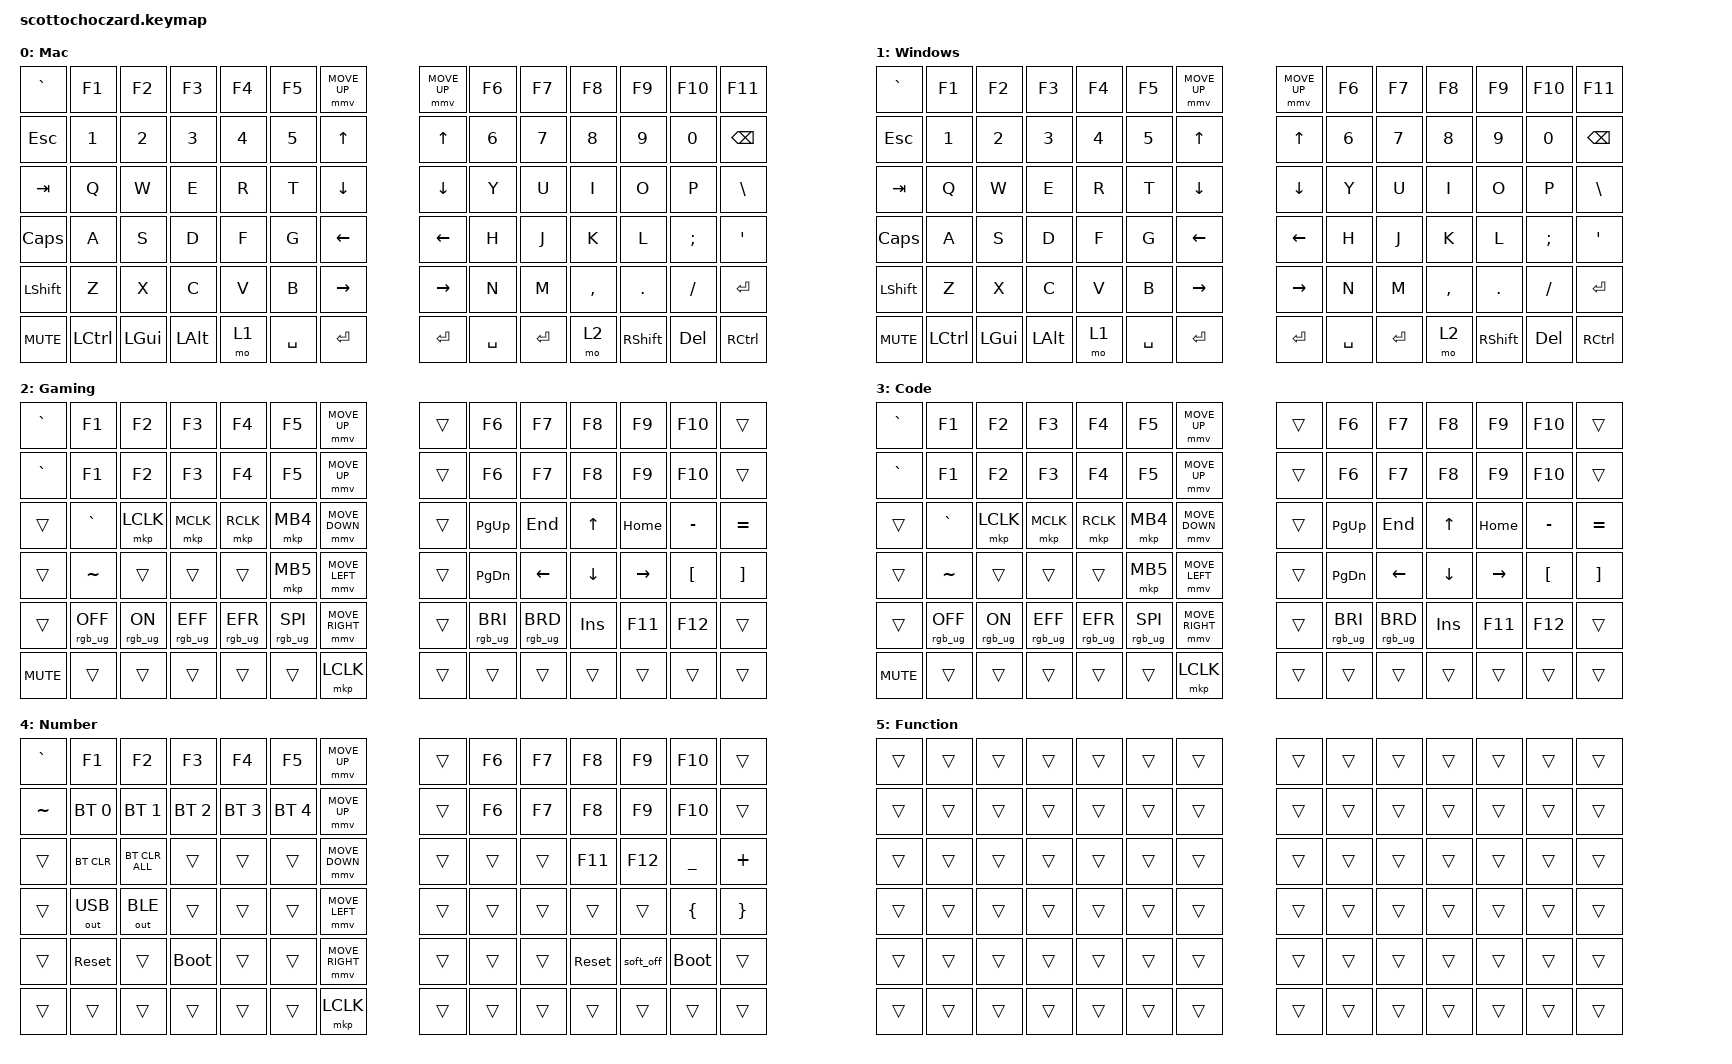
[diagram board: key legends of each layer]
#include <behaviors.dtsi>
#include <dt-bindings/zmk/keys.h>
#include <dt-bindings/zmk/bt.h>

#define MAC 0
#define WINDOWS 1
#define GAME 2
#define CODE 3
#define NUMBER 4
#define FUNCTION 5

// Behavior Overrides
&lt {
    tapping-term-ms = <200>;
    flavor = "hold-preferred";
};

/ {
    macros {
        spotlight: spotlight {
            compatible = "zmk,behavior-macro";
            #binding-cells = <0>;
            bindings = <&macro_press &kp LGUI>, <&macro_tap &kp SPACE>, <&macro_release &kp LGUI>; 
        };

        // Emoji
        mac_emoji: mac_emoji {
            compatible = "zmk,behavior-macro";
            #binding-cells = <0>;
            bindings = <&macro_press &kp LGUI>, <&macro_press &kp LCTRL>, <&macro_tap &kp SPACE>, <&macro_release &kp LCTRL>, <&macro_release &kp LGUI>; 
        };

        windows_emoji: windows_emoji {
            compatible = "zmk,behavior-macro";
            #binding-cells = <0>;
            bindings = <&macro_press &kp LGUI>, <&macro_tap &kp DOT>, <&macro_release &kp LGUI>; 
        };
    };

    behaviors {
        bm: bottom_row_mods {
            compatible = "zmk,behavior-hold-tap";
            #binding-cells = <2>;
            tapping-term-ms = <135>;
            quick-tap-ms = <0>;
            flavor = "tap-preferred";
            bindings = <&kp>, <&kp>;
        };

        cm: code_row_mods {
            compatible = "zmk,behavior-hold-tap";
            #binding-cells = <2>;
            tapping-term-ms = <200>;
            quick-tap-ms = <0>;
            flavor = "tap-preferred";
            bindings = <&kp>, <&kp>;
            retro-tap;
        };

        sm: space_mod {
            compatible = "zmk,behavior-hold-tap";
            #binding-cells = <2>;
            flavor = "balanced";
            tapping-term-ms = <200>;
            quick-tap-ms = <125>;
            bindings = <&kp>, <&kp>;
        };

        td_multi_mac: tap_dance_multi_mac {
            compatible = "zmk,behavior-tap-dance";
            #binding-cells = <0>;
            tapping-term-ms = <200>;
            bindings = <&sm ESC LALT>, <&spotlight>, <&kp LCTRL>, <&mac_emoji>;
        };

        td_multi_windows: tap_dance_multi_windows {
            compatible = "zmk,behavior-tap-dance";
            #binding-cells = <0>;
            tapping-term-ms = <200>;
            bindings = <&sm ESC LALT>, <&kp LGUI>, <&windows_emoji>;
        };
    };
    
    keymap {
        compatible = "zmk,keymap";

        mac_default_layer {
            display-name = "Mac";
            bindings = <
&kp GRAVE   &kp F1     &kp F2        &kp F3        &kp F4  &kp F5       &mmv MOVE_UP     &mmv MOVE_UP     &kp F6     &kp F7     &kp F8     &kp F9           &kp F10     &kp F11         
&kp ESC     &kp N1     &kp N2        &kp N3        &kp N4  &kp N5       &kp UP_ARROW     &kp UP_ARROW     &kp N6     &kp N7     &kp N8     &kp N9           &kp N0      &kp BACKSPACE
&kp TAB     &kp Q      &kp W         &kp E         &kp R   &kp T        &kp DOWN_ARROW   &kp DOWN_ARROW   &kp Y      &kp U      &kp I      &kp O            &kp P       &kp BSLH
&kp CAPS    &kp A      &kp S         &kp D         &kp F   &kp G        &kp LEFT_ARROW   &kp LEFT_ARROW   &kp H      &kp J      &kp K      &kp L            &kp SEMI    &kp APOS
&kp LSHFT   &kp Z      &kp X         &kp C         &kp V   &kp B        &kp RIGHT_ARROW  &kp RIGHT_ARROW  &kp N      &kp M      &kp COMMA  &kp DOT          &kp FSLH    &kp ENTER
&kp C_MUTE  &kp LCTRL  &kp LEFT_GUI  &kp LEFT_ALT  &mo 1   &kp SPACE    &kp ENTER        &kp ENTER        &kp SPACE  &kp ENTER  &mo 2      &kp RIGHT_SHIFT  &kp DELETE  &kp RCTRL
            >;
        };

        windows_default_layer {
            display-name = "Windows";
            bindings = <
&kp GRAVE   &kp F1     &kp F2        &kp F3        &kp F4  &kp F5       &mmv MOVE_UP     &mmv MOVE_UP     &kp F6     &kp F7     &kp F8     &kp F9           &kp F10     &kp F11         
&kp ESC     &kp N1     &kp N2        &kp N3        &kp N4  &kp N5       &kp UP_ARROW     &kp UP_ARROW     &kp N6     &kp N7     &kp N8     &kp N9           &kp N0      &kp BACKSPACE
&kp TAB     &kp Q      &kp W         &kp E         &kp R   &kp T        &kp DOWN_ARROW   &kp DOWN_ARROW   &kp Y      &kp U      &kp I      &kp O            &kp P       &kp BSLH
&kp CAPS    &kp A      &kp S         &kp D         &kp F   &kp G        &kp LEFT_ARROW   &kp LEFT_ARROW   &kp H      &kp J      &kp K      &kp L            &kp SEMI    &kp APOS
&kp LSHFT   &kp Z      &kp X         &kp C         &kp V   &kp B        &kp RIGHT_ARROW  &kp RIGHT_ARROW  &kp N      &kp M      &kp COMMA  &kp DOT          &kp FSLH    &kp ENTER
&kp C_MUTE  &kp LCTRL  &kp LEFT_GUI  &kp LEFT_ALT  &mo 1   &kp SPACE    &kp ENTER        &kp ENTER        &kp SPACE  &kp ENTER  &mo 2      &kp RIGHT_SHIFT  &kp DELETE  &kp RCTRL
            >;
        };

        gaming_layer {
            display-name = "Gaming";
            bindings = <
&kp GRAVE   &kp F1           &kp F2          &kp F3           &kp F4           &kp F5             &mmv MOVE_UP     &trans     &kp F6           &kp F7           &kp F8      &kp F9     &kp F10           &trans
&kp GRAVE   &kp F1           &kp F2          &kp F3           &kp F4           &kp F5             &mmv MOVE_UP     &trans     &kp F6           &kp F7           &kp F8      &kp F9     &kp F10           &trans
&trans      &kp GRAVE        &mkp LCLK       &mkp MCLK        &mkp RCLK        &mkp MB4           &mmv MOVE_DOWN   &trans     &kp PG_UP        &kp END          &kp UP      &kp HOME   &kp MINUS         &kp EQUAL
&trans      &kp TILDE        &trans          &trans           &trans           &mkp MB5           &mmv MOVE_LEFT   &trans     &kp PG_DN        &kp LEFT         &kp DOWN    &kp RIGHT  &kp LEFT_BRACKET  &kp RIGHT_BRACKET
&trans      &rgb_ug RGB_OFF  &rgb_ug RGB_ON  &rgb_ug RGB_EFF  &rgb_ug RGB_EFR  &rgb_ug RGB_SPI    &mmv MOVE_RIGHT  &trans     &rgb_ug RGB_BRI  &rgb_ug RGB_BRD  &kp INSERT  &kp F11    &kp F12           &trans
&kp C_MUTE  &trans           &trans          &trans           &trans           &trans             &mkp LCLK        &trans     &trans           &trans           &trans      &trans     &trans            &trans
            >;
        };

        code_layer {
            display-name = "Code";
            bindings = <
&kp GRAVE   &kp F1           &kp F2          &kp F3           &kp F4           &kp F5             &mmv MOVE_UP     &trans     &kp F6           &kp F7           &kp F8      &kp F9     &kp F10           &trans
&kp GRAVE   &kp F1           &kp F2          &kp F3           &kp F4           &kp F5             &mmv MOVE_UP     &trans     &kp F6           &kp F7           &kp F8      &kp F9     &kp F10           &trans
&trans      &kp GRAVE        &mkp LCLK       &mkp MCLK        &mkp RCLK        &mkp MB4           &mmv MOVE_DOWN   &trans     &kp PG_UP        &kp END          &kp UP      &kp HOME   &kp MINUS         &kp EQUAL
&trans      &kp TILDE        &trans          &trans           &trans           &mkp MB5           &mmv MOVE_LEFT   &trans     &kp PG_DN        &kp LEFT         &kp DOWN    &kp RIGHT  &kp LEFT_BRACKET  &kp RIGHT_BRACKET
&trans      &rgb_ug RGB_OFF  &rgb_ug RGB_ON  &rgb_ug RGB_EFF  &rgb_ug RGB_EFR  &rgb_ug RGB_SPI    &mmv MOVE_RIGHT  &trans     &rgb_ug RGB_BRI  &rgb_ug RGB_BRD  &kp INSERT  &kp F11    &kp F12           &trans
&kp C_MUTE  &trans           &trans          &trans           &trans           &trans             &mkp LCLK        &trans     &trans           &trans           &trans      &trans     &trans            &trans
            >;
        };

        number_layer {
            display-name = "Number";
            bindings = < 
&kp GRAVE  &kp F1        &kp F2          &kp F3        &kp F4        &kp F5          &mmv MOVE_UP     &trans     &kp F6  &kp F7  &kp F8      &kp F9     &kp F10      &trans
&kp TILDE  &bt BT_SEL 0  &bt BT_SEL 1    &bt BT_SEL 2  &bt BT_SEL 3  &bt BT_SEL 4    &mmv MOVE_UP     &trans     &kp F6  &kp F7  &kp F8      &kp F9     &kp F10      &trans
&trans     &bt BT_CLR    &bt BT_CLR_ALL  &trans        &trans        &trans          &mmv MOVE_DOWN   &trans     &trans  &trans  &kp F11     &kp F12    &kp UNDER    &kp PLUS
&trans     &out OUT_USB  &out OUT_BLE    &trans        &trans        &trans          &mmv MOVE_LEFT   &trans     &trans  &trans  &trans      &trans     &kp LBRC     &kp RBRC
&trans     &sys_reset    &trans          &bootloader   &trans        &trans          &mmv MOVE_RIGHT  &trans     &trans  &trans  &sys_reset  &soft_off  &bootloader  &trans
&trans     &trans        &trans          &trans        &trans        &trans          &mkp LCLK        &trans     &trans  &trans  &trans      &trans     &trans       &trans
            >;
        };

        function_layer {
            display-name = "Function";
            bindings =<
&trans  &trans  &trans  &trans  &trans  &trans    &trans     &trans  &trans  &trans  &trans  &trans  &trans  &trans
&trans  &trans  &trans  &trans  &trans  &trans    &trans     &trans  &trans  &trans  &trans  &trans  &trans  &trans
&trans  &trans  &trans  &trans  &trans  &trans    &trans     &trans  &trans  &trans  &trans  &trans  &trans  &trans
&trans  &trans  &trans  &trans  &trans  &trans    &trans     &trans  &trans  &trans  &trans  &trans  &trans  &trans
&trans  &trans  &trans  &trans  &trans  &trans    &trans     &trans  &trans  &trans  &trans  &trans  &trans  &trans
&trans  &trans  &trans  &trans  &trans  &trans    &trans     &trans  &trans  &trans  &trans  &trans  &trans  &trans
            >;
        };
    };
};
